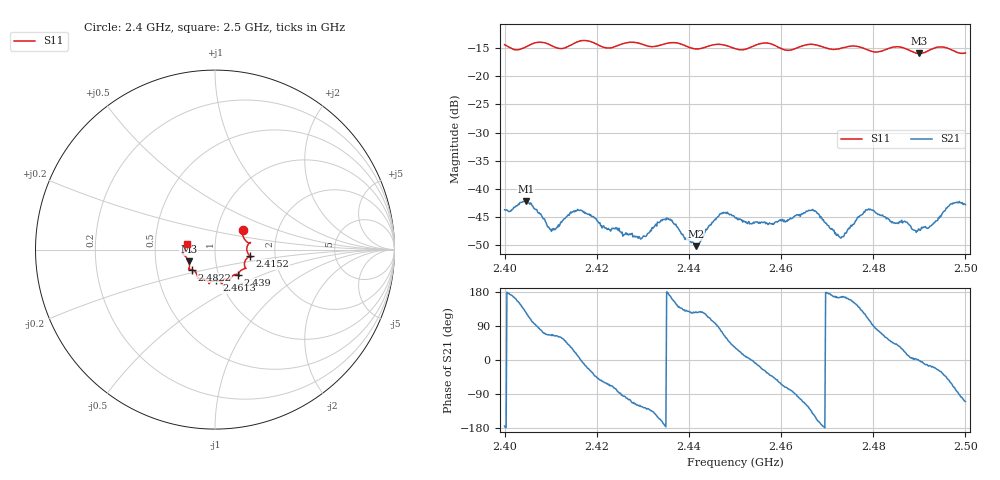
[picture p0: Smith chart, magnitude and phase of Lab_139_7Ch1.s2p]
# Hz S RI R 50
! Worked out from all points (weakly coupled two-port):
!   601 points, 2.4 GHz to 2.5 GHz, reference 50 ohm
!   highest |S21| = -42.21 dB at 2.4047 GHz (marker M1); lowest = -50.3 dB at 2.4415 GHz (marker M2)
!   lowest |S11| = -15.9 dB at 2.49 GHz (marker M3), VSWR 1.38, Z = 36.9 - j4.86 ohm
!   |S11| at or under -10 dB: start of sweep to end of sweep
!   S12 and S22 are empty: the file has one direction only
!   S11 on the Smith chart (normalised r, x): 2.4 GHz: 1.33, +0.31; 2.4152 GHz: 1.48, -0.11; 2.439 GHz: 1.24, -0.36; 2.4613 GHz: 0.96, -0.34; 2.4822 GHz: 0.76, -0.17; 2.5 GHz: 0.72, +0.05
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2.4e9  0.1562 0.1115  -0.00644 -0.000614  0 0  0 0
2.404667e9  0.1791 0.0417  -0.00447 0.00634  0 0  0 0
2.410333e9  0.1848 0.0286  0.00169 0.00403  0 0  0 0
2.415167e9  0.1945 -0.0358  0.00574 0.00234  0 0  0 0
2.416667e9  0.2042 -0.0418  0.0064 -0.000256  0 0  0 0
2.429333e9  0.1657 -0.1061  -0.00181 -0.00318  0 0  0 0
2.433333e9  0.133 -0.1326  -0.00442 -0.00232  0 0  0 0
2.435833e9  0.1342 -0.1473  -0.00518 0.000901  0 0  0 0
2.439e9  0.1282 -0.1394  -0.00246 0.00271  0 0  0 0
2.4415e9  0.1034 -0.1423  -0.00184 0.00245  0 0  0 0
2.447e9  0.0853 -0.1727  0.00148 0.00577  0 0  0 0
2.45e9  0.0686 -0.1634  0.0046 0.00301  0 0  0 0
2.456667e9  0.0397 -0.1948  0.00422 -0.00243  0 0  0 0
2.461333e9  0.00812 -0.1708  0.00141 -0.00491  0 0  0 0
2.466667e9  -0.0333 -0.1904  -0.0047 -0.00437  0 0  0 0
2.473e9  -0.0773 -0.1604  -0.00352 0.000842  0 0  0 0
2.4785e9  -0.0988 -0.1437  -0.00272 0.00588  0 0  0 0
2.482167e9  -0.1281 -0.112  0.00228 0.00519  0 0  0 0
2.483333e9  -0.1394 -0.1103  0.00321 0.00426  0 0  0 0
2.49e9  -0.1468 -0.0642  0.00434 -0.000172  0 0  0 0
2.497e9  -0.1723 -0.0113  0.00342 -0.0065  0 0  0 0
2.5e9  -0.1585 0.0334  -0.00241 -0.00678  0 0  0 0
